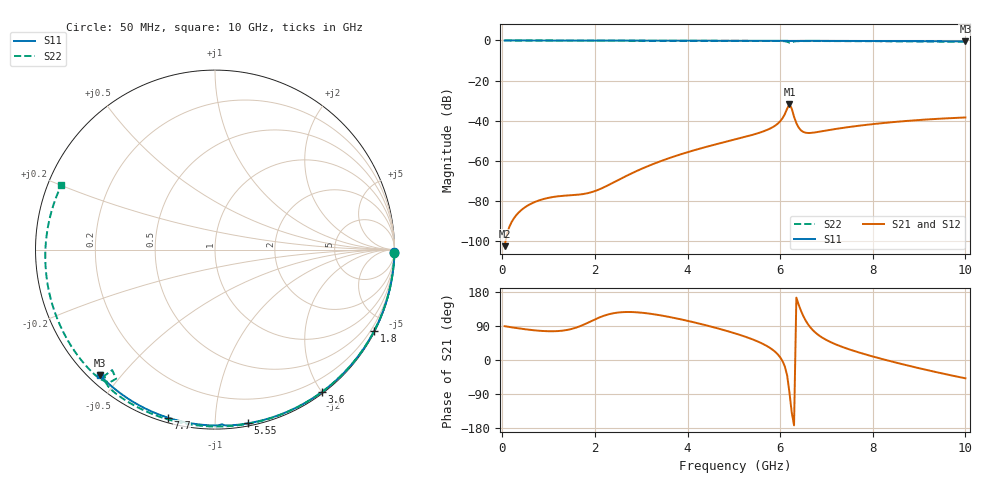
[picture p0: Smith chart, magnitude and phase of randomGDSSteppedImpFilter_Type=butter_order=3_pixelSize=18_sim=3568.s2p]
! freq	dB(S11)	phase(S11)	dB(S12)	phase(S12)
!  dB(S21)	phase(S21)	dB(S22)	phase(S22)
!S-par simulation data
#  GHz  S  DB  R 50
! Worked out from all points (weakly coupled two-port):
!   200 points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, 50 MHz to 10 GHz, reference 50 ohm
!   highest |S21| = -31.76 dB at 6.2 GHz (marker M1); lowest = -102.5 dB at 50 MHz (marker M2)
!   lowest |S11| = -0.5 dB at 10 GHz (marker M3), VSWR 38.40, Z = 1.56 - j22 ohm
!   |S11| at or under -10 dB: nowhere
!   |S22| runs from -1.1 to 0.0 dB; largest |S21 - S12| = 0
!   S11 on the Smith chart (normalised r, x): 50 MHz: open; 1.8 GHz: 0.04, -4.14; 3.6 GHz: 0.02, -2.00; 5.55 GHz: 0.02, -1.21; 7.7 GHz: 0.02, -0.76; 10 GHz: 0.03, -0.44
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0.05  -0.00 -0.8  -102.48 89.2  -102.48 89.2  -0.00 -1.2
0.75  -0.01 -11.4  -80.02 77.7  -80.02 77.7  -0.02 -17.3
1.1  -0.02 -16.7  -77.96 75.9  -77.96 75.9  -0.03 -25.3
1.75  -0.03 -26.4  -76.50 92.8  -76.50 92.8  -0.05 -39.8
1.8  -0.03 -27.1  -76.30 95.6  -76.30 95.6  -0.05 -40.9
2.1  -0.04 -31.5  -74.13 112.5  -74.13 112.5  -0.06 -47.5
3.4  -0.07 -50.2  -60.29 118.2  -60.29 118.2  -0.10 -75.0
3.6  -0.07 -53.0  -58.64 113.7  -58.64 113.7  -0.11 -79.1
5.05  -0.11 -72.7  -49.17 69.4  -49.17 69.4  -0.16 -107.7
5.55  -0.13 -79.3  -45.99 47.0  -45.99 47.0  -0.19 -117.4
5.95  -0.15 -84.4  -41.41 14.7  -41.41 14.7  -0.24 -125.6
6.05  -0.15 -85.8  -38.78 -2.6  -38.78 -2.6  -0.30 -128.1
6.2  -0.24 -87.7  -31.76 -84.7  -31.76 -84.7  -1.08 -130.5
6.25  -0.23 -87.9  -33.96 -138.5  -33.96 -138.5  -0.86 -127.4
6.3  -0.20 -88.5  -38.02 -172.4  -38.02 -172.4  -0.52 -128.3
6.4  -0.18 -89.8  -43.40 146.0  -43.40 146.0  -0.34 -131.1
6.5  -0.18 -91.1  -45.57 116.0  -45.57 116.0  -0.30 -133.5
6.7  -0.18 -93.6  -45.97 79.5  -45.97 79.5  -0.29 -137.6
7.7  -0.24 -105.7  -42.48 19.9  -42.48 19.9  -0.36 -156.6
8.35  -0.29 -113.4  -40.86 -2.2  -40.86 -2.2  -0.43 -169.0
9.2  -0.37 -123.2  -39.31 -27.3  -39.31 -27.3  -0.53 174.2
10  -0.45 -132.4  -38.37 -48.3  -38.37 -48.3  -0.64 157.3
